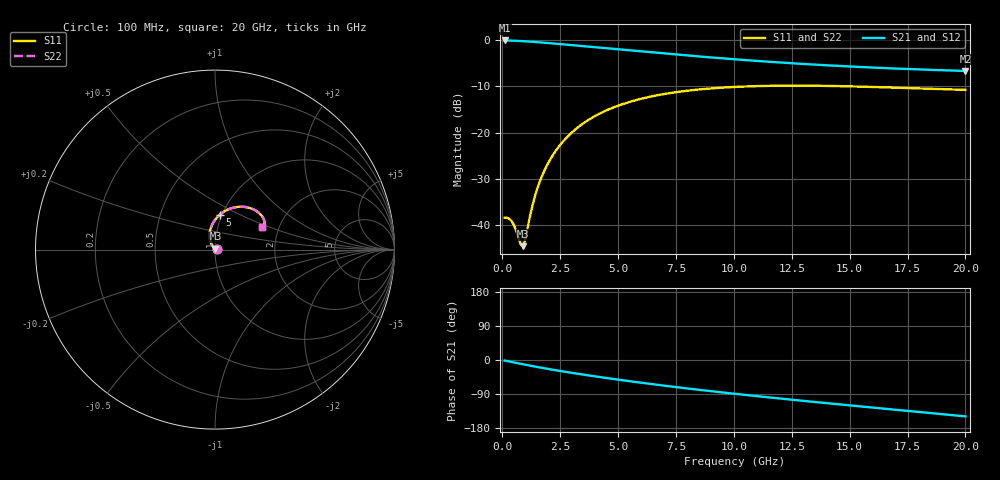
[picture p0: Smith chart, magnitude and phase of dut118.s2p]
! Touchstone file exported from HFSS 2024.1.0
!  File:  C:/UserFiles/LocalFiles/RDL_TSV_Batchsim/temp_RDL_TSV_118_1779423921.aedt
!  Generated:  12:40:16 PM May 22, 2026
!  Design:  RDL_TSV
!  Project:  temp_RDL_TSV_118_1779423921
!  Setup:  Setup1
!  Solution:  Sweep
! Variables:
!  dtsv = 10.18um
!  hbump = 3um
!  htsv = 56.48um
!  ldown = 280.4um
!  lrdl = 324.74um
!  p = 40
!  p1 = 44.53um
!  rhole = 10um
!  subl = 2140.16um
!  t = 450um
!  tdown = 2.87um
!  trdl = 3.69um
!  viad = 10um
!  wdown = 27.24um
!  wrdl = 16.57um
!  xbump = 18um
# GHz S MA R 50.000000
! Terminal data exported
! Port[1] = TM1_1_T1
! Port[2] = TM1_4_T1
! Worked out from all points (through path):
!   200 points, 100 MHz to 20 GHz, reference 50 ohm
!   highest |S21| = -0.11 dB at 100 MHz (marker M1); lowest = -6.7 dB at 20 GHz (marker M2)
!   group delay of S21, straight-line fit = 19.6 ps
!   lowest |S11| = -44.5 dB at 900 MHz (marker M3), VSWR 1.01, Z = 50.2 + j0.555 ohm
!   |S11| at or under -10 dB: start of sweep to 10.76 GHz; 14.86 GHz to end of sweep
!   |S22| runs from -44.5 to -9.9 dB; largest |S21 - S12| = 9.7e-15
!   S11 on the Smith chart (normalised r, x): 100 MHz: 1.02, +0.00; 5 GHz: 0.97, +0.39; 20 GHz: 1.63, +0.45
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0.1  0.01202 3.4  0.9876 -1.3  0.9876 -1.3  0.01201 3.4
! Gamma 0 0 0 0
! Port Impedance 50 0 50 0
0.3  0.01175 7.5  0.985 -3.9  0.985 -3.9  0.01175 7.5
0.4  0.01109 9.2  0.9832 -5.2  0.9832 -5.2  0.01109 9.2
0.6  0.008722 16.9  0.9788 -7.7  0.9788 -7.7  0.00872 16.9
0.8  0.006147 43.5  0.9733 -10.1  0.9733 -10.1  0.006148 43.5
0.9  0.005939 68.5  0.9703 -11.4  0.9703 -11.4  0.005945 68.6
1  0.007157 92.1  0.967 -12.6  0.967 -12.6  0.007167 92.2
1.2  0.01265 115.4  0.9597 -14.9  0.9597 -14.9  0.01267 115.4
1.4  0.02014 122.0  0.9518 -17.2  0.9518 -17.2  0.02015 122.0
1.6  0.02869 123.2  0.9433 -19.5  0.9433 -19.5  0.02871 123.2
1.9  0.04282 121.3  0.9299 -22.8  0.9299 -22.8  0.04284 121.3
2.2  0.05795 117.8  0.9161 -26.0  0.9161 -26.0  0.05797 117.8
2.6  0.0789 112.4  0.8973 -30.0  0.8973 -30.0  0.07893 112.4
3.5  0.126 100.1  0.8559 -38.7  0.8559 -38.7  0.126 100.1
4.2  0.1601 91.4  0.825 -45.0  0.825 -45.0  0.1602 91.4
5  0.1951 82.5  0.7912 -51.9  0.7912 -51.9  0.1951 82.5
6.8  0.2558 66.1  0.7212 -66.3  0.7212 -66.3  0.2557 66.1
8.3  0.2888 55.5  0.6696 -77.3  0.6696 -77.3  0.2888 55.5
10.1  0.3116 45.4  0.6166 -89.6  0.6166 -89.6  0.3115 45.4
13.4  0.3207 32.9  0.5433 -110.3  0.5433 -110.3  0.3204 32.9
16.7  0.3069 26.6  0.4947 -129.7  0.4947 -129.7  0.3066 26.6
20  0.2894 26.1  0.4626 -148.8  0.4626 -148.8  0.2889 26.1
